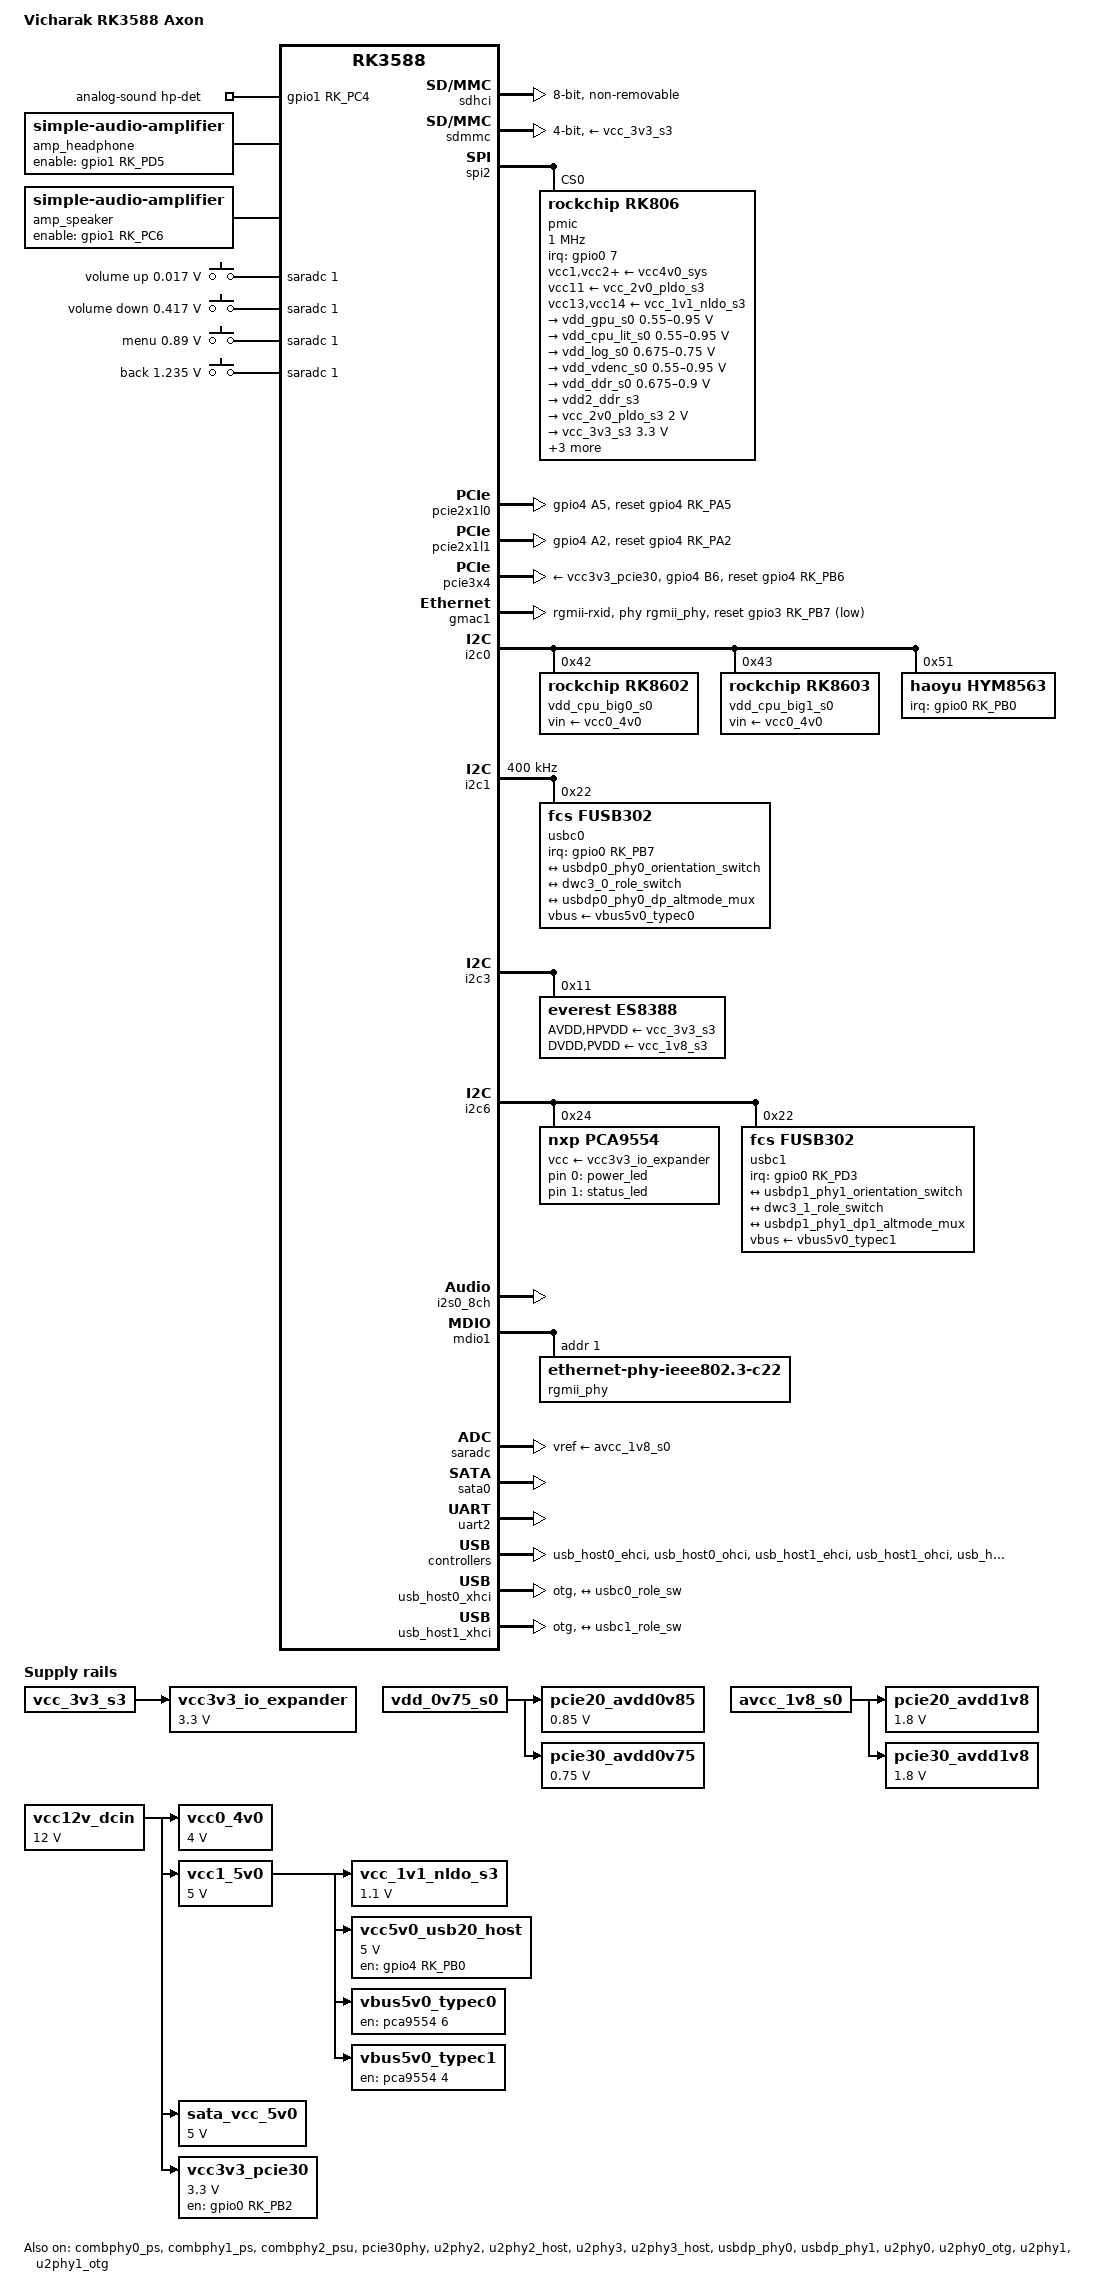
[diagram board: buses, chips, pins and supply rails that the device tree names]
// SPDX-License-Identifier: (GPL-2.0+ OR MIT)

/dts-v1/;

#include "rk3588.dtsi"
#include <dt-bindings/gpio/gpio.h>
#include <dt-bindings/input/linux-event-codes.h>
#include <dt-bindings/leds/common.h>
#include <dt-bindings/pinctrl/rockchip.h>
#include <dt-bindings/usb/pd.h>

/ {
	model = "Vicharak RK3588 Axon";
	compatible = "vicharak,rk3588-axon", "rockchip,rk3588";

	aliases {
		mmc0 = &sdmmc;
		mmc1 = &sdhci;
		serial2 = &uart2;
	};

	chosen {
		stdout-path = "serial2:1500000n8";
	};

	leds {
		compatible = "gpio-leds";
		status = "okay";

		power_led: power-led {
			function = LED_FUNCTION_POWER;
			gpios = <&pca9554 0 GPIO_ACTIVE_HIGH>;
			default-state = "on";
			retain-state-suspended;
			linux,default-trigger = "default-on";
		};

		status_led: status-led {
			function = LED_FUNCTION_STATUS;
			gpios = <&pca9554 1 GPIO_ACTIVE_HIGH>;
			default-state = "on";
			retain-state-suspended;
			linux,default-trigger = "heartbeat";
		};
	};

	analog-sound {
		compatible = "simple-audio-card";
		pinctrl-names = "default";
		pinctrl-0 = <&hp_detect>;
		simple-audio-card,name = "Analog Audio";
		simple-audio-card,aux-devs = <&amp_headphone>, <&amp_speaker>;
		simple-audio-card,bitclock-master = <&masterdai>;
		simple-audio-card,format = "i2s";
		simple-audio-card,frame-master = <&masterdai>;
		simple-audio-card,hp-det-gpios = <&gpio1 RK_PC4 GPIO_ACTIVE_HIGH>;
		simple-audio-card,mclk-fs = <256>;
		simple-audio-card,pin-switches = "Headphones", "Speaker";
		/* SARADC_IN3 is used as MIC detection / key input */

		simple-audio-card,routing =
			"Speaker Amplifier INL", "LOUT2",
			"Speaker Amplifier INR", "ROUT2",
			"Speaker", "Speaker Amplifier OUTL",
			"Speaker", "Speaker Amplifier OUTR",
			"Headphones Amplifier INL", "LOUT1",
			"Headphones Amplifier INR", "ROUT1",
			"Headphones", "Headphones Amplifier OUTL",
			"Headphones", "Headphones Amplifier OUTR",
			"LINPUT1", "Onboard Microphone",
			"RINPUT1", "Onboard Microphone",
			"LINPUT2", "Microphone Jack",
			"RINPUT2", "Microphone Jack";
		simple-audio-card,widgets =
			"Microphone", "Microphone Jack",
			"Microphone", "Onboard Microphone",
			"Headphone", "Headphones",
			"Speaker", "Speaker";

		simple-audio-card,cpu {
			sound-dai = <&i2s0_8ch>;
		};

		masterdai: simple-audio-card,codec {
			sound-dai = <&es8388>;
			system-clock-frequency = <12288000>;
		};
	};

	amp_headphone: headphone-amplifier {
		compatible = "simple-audio-amplifier";
		enable-gpios = <&gpio1 RK_PD5 GPIO_ACTIVE_HIGH>;
		pinctrl-names = "default";
		pinctrl-0 = <&headphone_amplifier_en>;
		sound-name-prefix = "Headphones Amplifier";
	};

	amp_speaker: speaker-amplifier {
		compatible = "simple-audio-amplifier";
		enable-gpios = <&gpio1 RK_PC6 GPIO_ACTIVE_HIGH>;
		pinctrl-names = "default";
		pinctrl-0 = <&speaker_amplifier_en>;
		sound-name-prefix = "Speaker Amplifier";
	};

	keys {
		compatible = "adc-keys";
		io-channels = <&saradc 1>;
		io-channel-names = "buttons";
		keyup-threshold-microvolt = <1800000>;
		poll-interval = <100>;
		status = "okay";

		vol-up-key {
			label = "volume up";
			linux,code = <KEY_VOLUMEUP>;
			press-threshold-microvolt = <17000>;
		};

		vol-down-key {
			label = "volume down";
			linux,code = <KEY_VOLUMEDOWN>;
			press-threshold-microvolt = <417000>;
		};

		menu-key {
			label = "menu";
			linux,code = <KEY_MENU>;
			press-threshold-microvolt = <890000>;
		};

		back-key {
			label = "back";
			linux,code = <KEY_BACK>;
			press-threshold-microvolt = <1235000>;
		};
	};

	vcc12v_dcin: vcc12v-dcin-regulator {
		compatible = "regulator-fixed";
		regulator-name = "vcc12v_dcin";
		regulator-always-on;
		regulator-boot-on;
		regulator-min-microvolt = <12000000>;
		regulator-max-microvolt = <12000000>;
	};

	vcc0_4v0: vcc4v0_sys: vcc0-4v0-regulator {
		compatible = "regulator-fixed";
		regulator-name = "vcc0_4v0";
		regulator-always-on;
		regulator-boot-on;
		regulator-min-microvolt = <4000000>;
		regulator-max-microvolt = <4000000>;
		vin-supply = <&vcc12v_dcin>;
	};

	vcc1_5v0: vcc5v0_sys: vcc1-5v0-regulator {
		compatible = "regulator-fixed";
		regulator-name = "vcc1_5v0";
		regulator-always-on;
		regulator-boot-on;
		regulator-min-microvolt = <5000000>;
		regulator-max-microvolt = <5000000>;
		vin-supply = <&vcc12v_dcin>;
	};

	vcc_1v1_nldo_s3: vcc-1v1-nldo-s3-regulator {
		compatible = "regulator-fixed";
		regulator-name = "vcc_1v1_nldo_s3";
		regulator-always-on;
		regulator-boot-on;
		regulator-min-microvolt = <1100000>;
		regulator-max-microvolt = <1100000>;
		vin-supply = <&vcc1_5v0>;
	};

	vcc3v3_io_expander: vcc3v3-io-expander {
		compatible = "regulator-fixed";
		regulator-name = "vcc3v3_io_expander";
		regulator-always-on;
		regulator-boot-on;
		enable-active-high;
		regulator-min-microvolt = <3300000>;
		regulator-max-microvolt = <3300000>;
		vin-supply = <&vcc_3v3_s3>;
	};

	vcc5v0_usb20_host: vcc5v0-usb20-host-regulator {
		compatible = "regulator-fixed";
		regulator-name = "vcc5v0_usb20_host";
		regulator-boot-on;
		regulator-always-on;
		regulator-min-microvolt = <5000000>;
		regulator-max-microvolt = <5000000>;
		enable-active-high;
		gpio = <&gpio4 RK_PB0 GPIO_ACTIVE_HIGH>;
		pinctrl-names = "default";
		pinctrl-0 = <&vcc5v0_host_en>;
		vin-supply = <&vcc1_5v0>;
	};

	sata_vcc_5v0: sata-vcc-5v0 {
		compatible = "regulator-fixed";
		regulator-name = "sata_vcc_5v0";
		startup-delay-us = <5000>;
		regulator-boot-on;
		regulator-always-on;
		enable-active-high;
		regulator-min-microvolt = <5000000>;
		regulator-max-microvolt = <5000000>;
		vin-supply = <&vcc12v_dcin>;
	};

	vbus5v0_typec0: vbus5v0-typec0-regulator {
		compatible = "regulator-fixed";
		regulator-name = "vbus5v0_typec0";
		regulator-boot-on;
		regulator-always-on;
		enable-active-high;
		gpio = <&pca9554 6 GPIO_ACTIVE_HIGH>;
		vin-supply = <&vcc1_5v0>;
	};

	vbus5v0_typec1: vbus5v0-typec1-regulator {
		compatible = "regulator-fixed";
		regulator-name = "vbus5v0_typec1";
		regulator-boot-on;
		regulator-always-on;
		enable-active-high;
		gpio = <&pca9554 4 GPIO_ACTIVE_HIGH>;
		vin-supply = <&vcc1_5v0>;
	};

	pcie20_avdd0v85: pcie20-avdd0v85-regulator {
		compatible = "regulator-fixed";
		regulator-name = "pcie20_avdd0v85";
		regulator-boot-on;
		regulator-always-on;
		regulator-min-microvolt = <850000>;
		regulator-max-microvolt = <850000>;
		vin-supply = <&vdd_0v75_s0>;
	};

	pcie20_avdd1v8: pcie20-avdd1v8-regulator {
		compatible = "regulator-fixed";
		regulator-name = "pcie20_avdd1v8";
		regulator-boot-on;
		regulator-always-on;
		regulator-min-microvolt = <1800000>;
		regulator-max-microvolt = <1800000>;
		vin-supply = <&avcc_1v8_s0>;
	};

	pcie30_avdd0v75: pcie30-avdd0v75-regulator {
		compatible = "regulator-fixed";
		regulator-name = "pcie30_avdd0v75";
		regulator-boot-on;
		regulator-always-on;
		regulator-min-microvolt = <750000>;
		regulator-max-microvolt = <750000>;
		vin-supply = <&vdd_0v75_s0>;
	};

	pcie30_avdd1v8: pcie30-avdd1v8-regulator {
		compatible = "regulator-fixed";
		regulator-name = "pcie30_avdd1v8";
		regulator-boot-on;
		regulator-always-on;
		regulator-min-microvolt = <1800000>;
		regulator-max-microvolt = <1800000>;
		vin-supply = <&avcc_1v8_s0>;
	};

	vcc3v3_pcie30: vcc3v3-pcie30 {
		compatible = "regulator-fixed";
		regulator-name = "vcc3v3_pcie30";
		regulator-boot-on;
		regulator-always-on;
		enable-active-high;
		gpios = <&gpio0 RK_PB2 GPIO_ACTIVE_HIGH>;
		regulator-min-microvolt = <3300000>;
		regulator-max-microvolt = <3300000>;
		vin-supply = <&vcc12v_dcin>;
	};

};


&combphy0_ps {
	status = "okay";
};

&combphy1_ps {
	status = "okay";
};

&combphy2_psu {
	status = "okay";
};

&cpu_b0 {
	cpu-supply = <&vdd_cpu_big0_s0>;
	mem-supply = <&vdd_cpu_big0_mem_s0>;
};

&cpu_b1 {
	cpu-supply = <&vdd_cpu_big0_s0>;
	mem-supply = <&vdd_cpu_big0_mem_s0>;
};

&cpu_b2 {
	cpu-supply = <&vdd_cpu_big1_s0>;
	mem-supply = <&vdd_cpu_big1_mem_s0>;
};

&cpu_b3 {
	cpu-supply = <&vdd_cpu_big1_s0>;
	mem-supply = <&vdd_cpu_big1_mem_s0>;
};

&cpu_l0 {
	cpu-supply = <&vdd_cpu_lit_s0>;
	mem-supply = <&vdd_cpu_lit_mem_s0>;
};

&cpu_l1 {
	cpu-supply = <&vdd_cpu_lit_s0>;
	mem-supply = <&vdd_cpu_lit_mem_s0>;
};

&cpu_l2 {
	cpu-supply = <&vdd_cpu_lit_s0>;
	mem-supply = <&vdd_cpu_lit_mem_s0>;
};

&cpu_l3 {
	cpu-supply = <&vdd_cpu_lit_s0>;
	mem-supply = <&vdd_cpu_lit_mem_s0>;
};

&sdhci {
	bus-width = <8>;
	full-pwr-cycle-in-suspend;
	max-frequency = <200000000>;
	mmc-hs400-1_8v;
	mmc-hs400-enhanced-strobe;
	no-sd;
	no-sdio;
	non-removable;
	status = "okay";
};

&sdmmc {
	bus-width = <4>;
	cap-mmc-highspeed;
	cap-sd-highspeed;
	disable-wp;
	max-frequency = <200000000>;
	no-mmc;
	no-sdio;
	sd-uhs-sdr104;
	vmmc-supply = <&vcc_3v3_s3>;
	vqmmc-supply = <&vccio_sd_s0>;
	status = "okay";
};

&spi2 {
	status = "okay";
	assigned-clock-rates = <200000000>;
	assigned-clocks = <&cru CLK_SPI2>;
	num-cs = <1>;
	pinctrl-0 = <&spi2m2_cs0 &spi2m2_pins>;
	pinctrl-names = "default";
	#address-cells = <1>;
	#size-cells = <0>;

	pmic@0 {
		reg = <0>;
		compatible = "rockchip,rk806";
		spi-max-frequency = <1000000>;

		#gpio-cells = <2>;
		gpio-controller;

		interrupt-parent = <&gpio0>;
		interrupts = <7 IRQ_TYPE_LEVEL_LOW>;

		pinctrl-names = "default", "pmic-power-off";
		pinctrl-0 = <&pmic_pins>, <&rk806_dvs1_null>,
					<&rk806_dvs2_null>, <&rk806_dvs3_null>;
		pinctrl-1 = <&rk806_dvs1_pwrdn>;

		system-power-controller;

		vcc1-supply = <&vcc4v0_sys>;
		vcc2-supply = <&vcc4v0_sys>;
		vcc3-supply = <&vcc4v0_sys>;
		vcc4-supply = <&vcc4v0_sys>;
		vcc5-supply = <&vcc4v0_sys>;
		vcc6-supply = <&vcc4v0_sys>;
		vcc7-supply = <&vcc4v0_sys>;
		vcc8-supply = <&vcc4v0_sys>;
		vcc9-supply = <&vcc4v0_sys>;
		vcc10-supply = <&vcc4v0_sys>;
		vcc11-supply = <&vcc_2v0_pldo_s3>;
		vcc12-supply = <&vcc4v0_sys>;
		vcc13-supply = <&vcc_1v1_nldo_s3>;
		vcc14-supply = <&vcc_1v1_nldo_s3>;
		vcca-supply = <&vcc4v0_sys>;

		rk806_dvs1_null: rk806_dvs1_null {
			pins = "gpio_pwrctrl2";
			function = "pin_fun0";
		};

		rk806_dvs1_slp: rk806_dvs1_slp {
			pins = "gpio_pwrctrl1";
			function = "pin_fun1";
		};

		rk806_dvs1_pwrdn: rk806_dvs1_pwrdn {
			pins = "gpio_pwrctrl1";
			function = "pin_fun2";
		};

		rk806_dvs1_rst: rk806_dvs1_rst {
			pins = "gpio_pwrctrl1";
			function = "pin_fun3";
		};

		rk806_dvs2_null: rk806_dvs2_null {
			pins = "gpio_pwrctrl2";
			function = "pin_fun0";
		};

		rk806_dvs2_slp: rk806_dvs2_slp {
			pins = "gpio_pwrctrl2";
			function = "pin_fun1";
		};

		rk806_dvs2_pwrdn: rk806_dvs2_pwrdn {
			pins = "gpio_pwrctrl2";
			function = "pin_fun2";
		};

		rk806_dvs2_rst: rk806_dvs2_rst {
			pins = "gpio_pwrctrl2";
			function = "pin_fun3";
		};

		rk806_dvs2_dvs: rk806_dvs2_dvs {
			pins = "gpio_pwrctrl2";
			function = "pin_fun4";
		};

		rk806_dvs2_gpio: rk806_dvs2_gpio {
			pins = "gpio_pwrctrl2";
			function = "pin_fun5";
		};

		rk806_dvs3_null: rk806_dvs3_null {
			pins = "gpio_pwrctrl3";
			function = "pin_fun0";
		};

		rk806_dvs3_slp: rk806_dvs3_slp {
			pins = "gpio_pwrctrl3";
			function = "pin_fun1";
		};

		rk806_dvs3_pwrdn: rk806_dvs3_pwrdn {
			pins = "gpio_pwrctrl3";
			function = "pin_fun2";
		};

		rk806_dvs3_rst: rk806_dvs3_rst {
			pins = "gpio_pwrctrl3";
			function = "pin_fun3";
		};

		rk806_dvs3_dvs: rk806_dvs3_dvs {
			pins = "gpio_pwrctrl3";
			function = "pin_fun4";
		};

		rk806_dvs3_gpio: rk806_dvs3_gpio {
			pins = "gpio_pwrctrl3";
			function = "pin_fun5";
		};

		regulators {
			vdd_gpu_s0: vdd_gpu_mem_s0: dcdc-reg1 {
				regulator-boot-on;
				regulator-min-microvolt = <550000>;
				regulator-max-microvolt = <950000>;
				regulator-ramp-delay = <12500>;
				regulator-name = "vdd_gpu_s0";
				regulator-enable-ramp-delay = <400>;

				regulator-state-mem {
					regulator-off-in-suspend;
				};
			};

			vdd_cpu_lit_s0: vdd_cpu_lit_mem_s0: dcdc-reg2 {
				regulator-always-on;
				regulator-boot-on;
				regulator-min-microvolt = <550000>;
				regulator-max-microvolt = <950000>;
				regulator-ramp-delay = <12500>;
				regulator-name = "vdd_cpu_lit_s0";

				regulator-state-mem {
					regulator-off-in-suspend;
				};
			};

			vdd_log_s0: dcdc-reg3 {
				regulator-always-on;
				regulator-boot-on;
				regulator-min-microvolt = <675000>;
				regulator-max-microvolt = <750000>;
				regulator-ramp-delay = <12500>;
				regulator-name = "vdd_log_s0";

				regulator-state-mem {
					regulator-off-in-suspend;
					regulator-suspend-microvolt = <750000>;
				};
			};

			vdd_vdenc_s0: vdd_vdenc_mem_s0: dcdc-reg4 {
				regulator-always-on;
				regulator-boot-on;
				regulator-min-microvolt = <550000>;
				regulator-max-microvolt = <950000>;
				regulator-init-microvolt = <750000>;
				regulator-ramp-delay = <12500>;
				regulator-name = "vdd_vdenc_s0";

				regulator-state-mem {
					regulator-off-in-suspend;
				};
			};

			vdd_ddr_s0: dcdc-reg5 {
				regulator-always-on;
				regulator-boot-on;
				regulator-min-microvolt = <675000>;
				regulator-max-microvolt = <900000>;
				regulator-ramp-delay = <12500>;
				regulator-name = "vdd_ddr_s0";

				regulator-state-mem {
					regulator-off-in-suspend;
					regulator-suspend-microvolt = <850000>;
				};
			};

			vdd2_ddr_s3: dcdc-reg6 {
				regulator-always-on;
				regulator-boot-on;
				regulator-name = "vdd2_ddr_s3";

				regulator-state-mem {
					regulator-on-in-suspend;
				};
			};

			vcc_2v0_pldo_s3: dcdc-reg7 {
				regulator-always-on;
				regulator-boot-on;
				regulator-min-microvolt = <2000000>;
				regulator-max-microvolt = <2000000>;
				regulator-name = "vdd_2v0_pldo_s3";

				regulator-state-mem {
					regulator-on-in-suspend;
					regulator-suspend-microvolt = <2000000>;
				};
			};

			vcc_3v3_s3: dcdc-reg8 {
				regulator-always-on;
				regulator-boot-on;
				regulator-min-microvolt = <3300000>;
				regulator-max-microvolt = <3300000>;
				regulator-name = "vcc_3v3_s3";

				regulator-state-mem {
					regulator-on-in-suspend;
					regulator-suspend-microvolt = <3300000>;
				};
			};

			vddq_ddr_s0: dcdc-reg9 {
				regulator-always-on;
				regulator-boot-on;
				regulator-name = "vddq_ddr_s0";

				regulator-state-mem {
					regulator-off-in-suspend;
				};
			};

			vcc_1v8_s3: dcdc-reg10 {
				regulator-always-on;
				regulator-boot-on;
				regulator-min-microvolt = <1800000>;
				regulator-max-microvolt = <1800000>;
				regulator-name = "vcc_1v8_s3";

				regulator-state-mem {
					regulator-on-in-suspend;
					regulator-suspend-microvolt = <1800000>;
				};
			};

			avcc_1v8_s0: pldo-reg1 {
				regulator-always-on;
				regulator-boot-on;
				regulator-min-microvolt = <1800000>;
				regulator-max-microvolt = <1800000>;
				regulator-name = "avcc_1v8_s0";

				regulator-state-mem {
					regulator-off-in-suspend;
				};
			};

			vcc_1v8_s0: pldo-reg2 {
				regulator-always-on;
				regulator-boot-on;
				regulator-min-microvolt = <1800000>;
				regulator-max-microvolt = <1800000>;
				regulator-name = "vcc_1v8_s0";

				regulator-state-mem {
					regulator-off-in-suspend;
					regulator-suspend-microvolt = <1800000>;
				};
			};

			avdd_1v2_s0: pldo-reg3 {
				regulator-always-on;
				regulator-boot-on;
				regulator-min-microvolt = <1200000>;
				regulator-max-microvolt = <1200000>;
				regulator-name = "avdd_1v2_s0";

				regulator-state-mem {
					regulator-off-in-suspend;
				};
			};

			vcc_3v3_s0: pldo-reg4 {
				regulator-always-on;
				regulator-boot-on;
				regulator-min-microvolt = <3300000>;
				regulator-max-microvolt = <3300000>;
				regulator-name = "vcc_3v3_s0";

				regulator-state-mem {
					regulator-off-in-suspend;
				};
			};

			vccio_sd_s0: pldo-reg5 {
				regulator-always-on;
				regulator-boot-on;
				regulator-min-microvolt = <1800000>;
				regulator-max-microvolt = <3300000>;
				regulator-name = "vccio_sd_s0";

				regulator-state-mem {
					regulator-off-in-suspend;
				};
			};

			pldo6_s3: pldo-reg6 {
				regulator-always-on;
				regulator-boot-on;
				regulator-min-microvolt = <1800000>;
				regulator-max-microvolt = <1800000>;
				regulator-name = "pldo6_s3";

				regulator-state-mem {
					regulator-on-in-suspend;
					regulator-suspend-microvolt = <1800000>;
				};
			};

			vdd_0v75_s3: nldo-reg1 {
				regulator-always-on;
				regulator-boot-on;
				regulator-min-microvolt = <750000>;
				regulator-max-microvolt = <750000>;
				regulator-name = "vdd_0v75_s3";

				regulator-state-mem {
					regulator-on-in-suspend;
					regulator-suspend-microvolt = <750000>;
				};
			};

			vdd_ddr_pll_s0: nldo-reg2 {
				regulator-always-on;
				regulator-boot-on;
				regulator-min-microvolt = <850000>;
				regulator-max-microvolt = <850000>;
				regulator-name = "vdd_ddr_pll_s0";

				regulator-state-mem {
					regulator-off-in-suspend;
					regulator-suspend-microvolt = <850000>;
				};
			};

			avdd_0v75_s0: nldo-reg3 {
				regulator-always-on;
				regulator-boot-on;
				regulator-min-microvolt = <837500>;
				regulator-max-microvolt = <837500>;
				regulator-name = "avdd_0v75_s0";

				regulator-state-mem {
					regulator-off-in-suspend;
				};
			};

			vdd_0v85_s0: nldo-reg4 {
				regulator-always-on;
				regulator-boot-on;
				regulator-min-microvolt = <850000>;
				regulator-max-microvolt = <850000>;
				regulator-name = "vdd_0v85_s0";

				regulator-state-mem {
					regulator-off-in-suspend;
				};
			};

			vdd_0v75_s0: nldo-reg5 {
				regulator-always-on;
				regulator-boot-on;
				regulator-min-microvolt = <750000>;
				regulator-max-microvolt = <750000>;
				regulator-name = "vdd_0v75_s0";

				regulator-state-mem {
					regulator-off-in-suspend;
				};
			};
		};
	};
};

&pcie2x1l0 {
	reset-gpios = <&gpio4 RK_PA5 GPIO_ACTIVE_HIGH>;
	pinctrl-names = "default";
	pinctrl-0 = <&pcie2_0_rst>;
	rockchip,skip-scan-in-resume;
	status = "okay";
};

&pcie2x1l1 {
	reset-gpios = <&gpio4 RK_PA2 GPIO_ACTIVE_HIGH>;
	pinctrl-names = "default";
	pinctrl-0 = <&pcie2_1_rst>;
	rockchip,skip-scan-in-resume;
	status = "okay";
};

&pcie30phy {
	status = "okay";
};

&pcie3x4 {
	reset-gpios = <&gpio4 RK_PB6 GPIO_ACTIVE_HIGH>;
	pinctrl-names = "default";
	pinctrl-0 = <&pcie3_reset>;
	vpcie3v3-supply = <&vcc3v3_pcie30>;
	status = "okay";
};

&gmac1 {
	clock_in_out = "output";
	phy-handle = <&rgmii_phy>;
	phy-mode = "rgmii-rxid";
	pinctrl-0 = <&gmac1_rgmii_bus
				&gmac1_rgmii_clk
				&gmac1_rx_bus2
				&gmac1_tx_bus2
				&gmac1_miim>;
	pinctrl-names = "default";
	snps,reset-active-low;
	snps,reset-delays-us = <0 20000 100000>;
	snps,reset-gpio = <&gpio3 RK_PB7 GPIO_ACTIVE_LOW>;
	rx_delay = <0x00>;
	tx_delay = <0x43>;
	status = "okay";
};

&i2c0 {
	pinctrl-0 = <&i2c0m2_xfer>;
	pinctrl-names = "default";
	status = "okay";

	vdd_cpu_big0_s0: vdd_cpu_big0_mem_s0: regulator@42 {
		compatible = "rockchip,rk8602";
		fcs,suspend-voltage-selector = <1>;
		reg = <0x42>;
		regulator-always-on;
		regulator-boot-on;
		regulator-max-microvolt = <1050000>;
		regulator-min-microvolt = <550000>;
		regulator-name = "vdd_cpu_big0_s0";
		regulator-ramp-delay = <2300>;
		vin-supply = <&vcc0_4v0>;

		regulator-state-mem {
			regulator-off-in-suspend;
		};
	};

	vdd_cpu_big1_s0: vdd_cpu_big1_mem_s0: regulator@43 {
		compatible = "rockchip,rk8603", "rockchip,rk8602";
		fcs,suspend-voltage-selector = <1>;
		reg = <0x43>;
		regulator-always-on;
		regulator-boot-on;
		regulator-max-microvolt = <1050000>;
		regulator-min-microvolt = <550000>;
		regulator-name = "vdd_cpu_big1_s0";
		regulator-ramp-delay = <2300>;
		vin-supply = <&vcc0_4v0>;

		regulator-state-mem {
			regulator-off-in-suspend;
		};
	};

	hym8563: rtc@51 {
		compatible = "haoyu,hym8563";
		reg = <0x51>;
		#clock-cells = <0>;
		clock-output-names = "hym8563";
		interrupt-parent = <&gpio0>;
		interrupts = <RK_PB0 IRQ_TYPE_LEVEL_LOW>;
		pinctrl-names = "default";
		pinctrl-0 = <&rtc_int>;
		wakeup-source;
		status = "okay";
	};
};

&i2c1 {
	status = "okay";
	pinctrl-names = "default";
	clock-frequency = <400000>;
	pinctrl-0 = <&i2c1m2_xfer>;

	usbc0: fusb302@22 {
		compatible = "fcs,fusb302";
		reg = <0x22>;
		interrupt-parent = <&gpio0>;
		interrupts = <RK_PB7 IRQ_TYPE_LEVEL_LOW>;
		pinctrl-names = "default";
		pinctrl-0 = <&usbc0_int>;
		vbus-supply = <&vbus5v0_typec0>;
		status = "okay";

		usb_con0: connector {
			compatible = "usb-c-connector";
			data-role = "dual";
			label = "USB-C0";
			power-role = "dual";
			sink-pdos = <PDO_FIXED(5000, 1000, PDO_FIXED_USB_COMM)>;
			source-pdos = <PDO_FIXED(5000, 3000, PDO_FIXED_USB_COMM)>;
			op-sink-microwatt = <1000000>;
			try-power-role = "sink";
			status = "okay";

			altmodes {
				#address-cells = <1>;
				#size-cells = <0>;

				altmode@0 {
					reg = <0>;
					svid = <0xff01>;
					vdo = <0xffffffff>;
				};
			};

			ports {
				#address-cells = <1>;
				#size-cells = <0>;

				port@0 {
					reg = <0>;

					usbc0_orien_sw: endpoint {
						remote-endpoint = <&usbdp0_phy0_orientation_switch>;
					};
				};

				port@1 {
					reg = <1>;

					usbc0_role_sw: endpoint {
						remote-endpoint = <&dwc3_0_role_switch>;
					};
				};

				port@2 {
					reg = <2>;

					dp0_altmode_mux: endpoint {
						remote-endpoint = <&usbdp0_phy0_dp_altmode_mux>;
					};
				};
			};
		};
	};
};

&i2c3 {
	es8388: audio-codec@11 {
		#sound-dai-cells = <0>;
		compatible = "everest,es8388", "everest,es8328";
		reg = <0x11>;
		clocks = <&cru I2S0_8CH_MCLKOUT>;
		clock-names = "mclk";
		assigned-clocks = <&cru I2S0_8CH_MCLKOUT>;
		assigned-clock-rates = <12288000>;
		AVDD-supply = <&vcc_3v3_s3>;
		DVDD-supply = <&vcc_1v8_s3>;
		HPVDD-supply = <&vcc_3v3_s3>;
		PVDD-supply = <&vcc_1v8_s3>;
		status = "okay";
	};
};

&i2c6 {
	status = "okay";

	pca9554: gpio@24 {
		compatible = "nxp,pca9554";
		#gpio-cells = <2>;
		gpio-controller;
		reg = <0x24>;
		vcc-supply = <&vcc3v3_io_expander>;
		status = "okay";
	};

	usbc1: fusb302@22 {
		compatible = "fcs,fusb302";
		reg = <0x22>;
		interrupt-parent = <&gpio0>;
		interrupts = <RK_PD3 IRQ_TYPE_LEVEL_LOW>;
		pinctrl-names = "default";
		pinctrl-0 = <&usbc1_int>;
		vbus-supply = <&vbus5v0_typec1>;
		status = "okay";

		usb_con1: connector {
			compatible = "usb-c-connector";
			data-role = "dual";
			label = "USB-C1";
			power-role = "dual";
			sink-pdos = <PDO_FIXED(5000, 1000, PDO_FIXED_USB_COMM)>;
			source-pdos = <PDO_FIXED(5000, 3000, PDO_FIXED_USB_COMM)>;
			op-sink-microwatt = <1000000>;
			try-power-role = "source";
			status = "okay";

			altmodes {
				#address-cells = <1>;
				#size-cells = <0>;

				altmode@0 {
					reg = <0>;
					svid = <0xff01>;
					vdo = <0xffffffff>;
				};
			};

			ports {
				#address-cells = <1>;
				#size-cells = <0>;

				port@0 {
					reg = <0>;

					usbc1_orien_sw: endpoint {
						remote-endpoint = <&usbdp1_phy1_orientation_switch>;
					};
				};

				port@1 {
					reg = <1>;

					usbc1_role_sw: endpoint {
						remote-endpoint = <&dwc3_1_role_switch>;
					};
				};

				port@2 {
					reg = <2>;

					dp1_altmode_mux: endpoint {
						remote-endpoint = <&usbdp1_phy1_dp1_altmode_mux>;
					};
				};
			};
		};
	};
};

&i2s0_8ch {
	pinctrl-0 = <&i2s0_lrck
				&i2s0_sclk
				&i2s0_sdi0
				&i2s0_sdo0>;

	status = "okay";
};

&mdio1 {
	rgmii_phy: ethernet-phy@1 {
		/* RTL8211F */
		compatible = "ethernet-phy-ieee802.3-c22";
		reg = <0x1>;
		status = "okay";
	};
};

&pinctrl {
	pcie2 {
		pcie2_0_rst: pcie2-0-rst {
			rockchip,pins =
				<4 RK_PA5 RK_FUNC_GPIO &pcfg_pull_none>;
		};

		pcie2_1_rst: pcie2-1-rst {
			rockchip,pins =
				<4 RK_PA2 RK_FUNC_GPIO &pcfg_pull_none>;
		};
	};

	pcie3 {
		pcie3_reset: pcie3-reset {
			rockchip,pins =
				<4 RK_PB6 RK_FUNC_GPIO &pcfg_pull_none>;
		};
	};

	sound {
		hp_detect: hp-detect {
			rockchip,pins = <1 RK_PC4 RK_FUNC_GPIO &pcfg_pull_none>;
		};

		headphone_amplifier_en: headphone-amplifier-en {
			rockchip,pins = <1 RK_PD5 RK_FUNC_GPIO &pcfg_pull_none>;
		};

		speaker_amplifier_en: speaker-amplifier-en {
			rockchip,pins = <1 RK_PC6 RK_FUNC_GPIO &pcfg_pull_none>;
		};
	};

	rtl8211f {
		rtl8211f_rst: rtl8211f-rst {
			rockchip,pins = <3 RK_PB7 RK_FUNC_GPIO &pcfg_pull_none>;
		};
	};

	usb2 {
		vcc5v0_host_en: vcc5v0-host-en {
			rockchip,pins = <4 RK_PB0 RK_FUNC_GPIO &pcfg_pull_none>;
		};
	};

	usb-typec {
		usbc0_int: usbc0-int {
			rockchip,pins =
				<0 RK_PB7 RK_FUNC_GPIO &pcfg_pull_up>;
		};

		usbc1_int: usbc1-int {
			rockchip,pins =
				<0 RK_PD3 RK_FUNC_GPIO &pcfg_pull_up>;
		};
	};

	hym8563 {
		rtc_int: rtc-int {
			rockchip,pins =
				<0 RK_PB0 RK_FUNC_GPIO &pcfg_pull_up>;
		};
	};
};

&saradc {
	vref-supply = <&avcc_1v8_s0>;
	status = "okay";
};

&sata0 {
	status = "okay";
};

&u2phy2 {
	status = "okay";
};

&u2phy2_host {
	phy-supply = <&vcc5v0_usb20_host>;
	status = "okay";
};

&u2phy3 {
	status = "okay";
};

&u2phy3_host {
	phy-supply = <&vcc5v0_usb20_host>;
	status = "okay";
};

&uart2 {
	pinctrl-0 = <&uart2m0_xfer>;
	status = "okay";
};

&usb_host0_ehci {
	status = "okay";
};

&usb_host0_ohci {
	status = "okay";
};

&usb_host0_xhci {
	dr_mode = "otg";
	usb-role-switch;
	status = "okay";

	port {
		#address-cells = <1>;
		#size-cells = <0>;

		dwc3_0_role_switch: endpoint@0 {
			reg = <0>;
			remote-endpoint = <&usbc0_role_sw>;
		};
	};
};

&usb_host1_ehci {
	status = "okay";
};

&usb_host1_ohci {
	status = "okay";
};

&usb_host1_xhci {
	dr_mode = "otg";
	usb-role-switch;
	status = "okay";

	port {
		#address-cells = <1>;
		#size-cells = <0>;

		dwc3_1_role_switch: endpoint@0 {
			reg = <0>;
			remote-endpoint = <&usbc1_role_sw>;
		};
	};
};

&usb_host2_xhci {
	status = "okay";
};

&usbdp_phy0 {
	mode-switch;
	orientation-switch;
	sbu1-dc-gpios = <&gpio4 RK_PA6 GPIO_ACTIVE_HIGH>;
	sbu2-dc-gpios = <&gpio4 RK_PA7 GPIO_ACTIVE_HIGH>;
	status = "okay";

	port {
		#address-cells = <1>;
		#size-cells = <0>;

		usbdp0_phy0_orientation_switch: endpoint@0 {
			reg = <0>;
			remote-endpoint = <&usbc0_orien_sw>;
		};

		usbdp0_phy0_dp_altmode_mux: endpoint@1 {
			reg = <1>;
			remote-endpoint = <&dp0_altmode_mux>;
		};
	};
};

&usbdp_phy1 {
	mode-switch;
	orientation-switch;
	sbu1-dc-gpios = <&gpio4 RK_PB1 GPIO_ACTIVE_HIGH>;
	sbu2-dc-gpios = <&gpio4 RK_PB3 GPIO_ACTIVE_HIGH>;
	status = "okay";

	port {
		#address-cells = <1>;
		#size-cells = <0>;

		usbdp1_phy1_orientation_switch: endpoint@0 {
			reg = <0>;
			remote-endpoint = <&usbc1_orien_sw>;
		};

		usbdp1_phy1_dp1_altmode_mux: endpoint@1 {
			reg = <1>;
			remote-endpoint = <&dp1_altmode_mux>;
		};
	};
};

&u2phy0 {
	status = "okay";
};

&u2phy0_otg {
	status = "okay";
};

&u2phy1 {
	status = "okay";
};

&u2phy1_otg {
	status = "okay";
};
